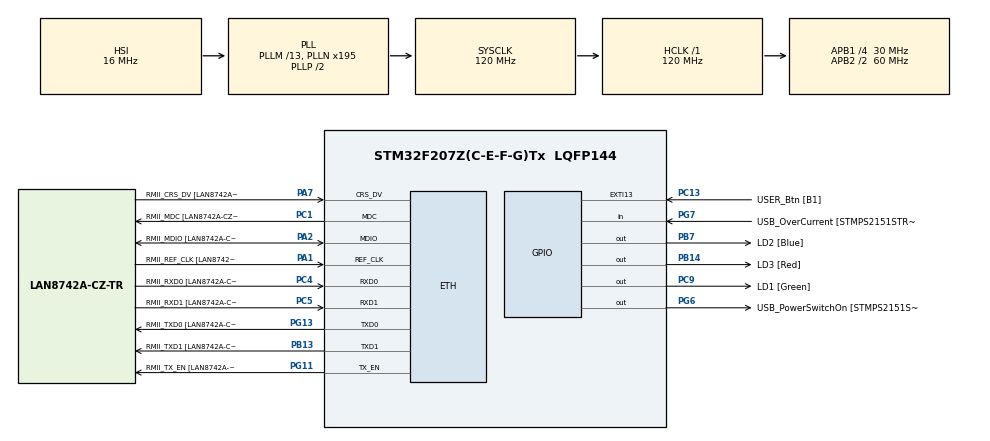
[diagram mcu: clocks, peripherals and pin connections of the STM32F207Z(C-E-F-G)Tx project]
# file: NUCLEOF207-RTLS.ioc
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ETH.MACAddr=00\:80\:E1\:12\:34\:56
ETH.MediaInterface=ETH_MEDIA_INTERFACE_RMII
ETH.PHY_Name=LAN8742A_PHY_ADDRESS
ETH.PHY_Value=0
ETH.PhyAddress=0
FREERTOS.Tasks01=defaultTask,0,1280,StartDefaultTask,Default,NULL,Dynamic,NULL,NULL
FREERTOS.configGENERATE_RUN_TIME_STATS=1
FREERTOS.configTOTAL_HEAP_SIZE=30720
FREERTOS.configUSE_STATS_FORMATTING_FUNCTIONS=1
FREERTOS.configUSE_TRACE_FACILITY=1
LWIP.GATEWAY_ADDRESS=192.168.050.001
LWIP.IP_ADDRESS=192.168.050.195
LWIP.LWIP_DHCP=0
LWIP.NETMASK_ADDRESS=255.255.255.000
LWIP.TCP_MSS=460
LWIP.TCP_SND_BUF=1840
LWIP.TCP_WND=2048
LWIP.Version=v2.0.0_Cube
Mcu.Family=STM32F2
Mcu.Name=STM32F207Z(C-E-F-G)Tx
Mcu.Package=LQFP144
NVIC.ETH_IRQn=true\:5\:0\:false\:false\:true\:true\:false\:true
NVIC.PriorityGroup=NVIC_PRIORITYGROUP_4
PA1.GPIO_Label=RMII_REF_CLK [LAN8742A-CZ-TR_REFCLK0]
PA1.Mode=RMII
PA1.Signal=ETH_REF_CLK
PA10.GPIO_Label=USB_ID
PA10.Signal=USB_OTG_FS_ID
PA11.GPIO_Label=USB_DM
PA11.Signal=USB_OTG_FS_DM
PA12.GPIO_Label=USB_DP
PA12.Signal=USB_OTG_FS_DP
PA13.GPIO_Label=TMS
PA13.Mode=Serial_Wire
PA13.Signal=SYS_JTMS-SWDIO
PA14.GPIO_Label=TCK
PA14.Mode=Serial_Wire
PA14.Signal=SYS_JTCK-SWCLK
PA2.GPIO_Label=RMII_MDIO [LAN8742A-CZ-TR_MDIO]
PA2.Mode=RMII
PA2.Signal=ETH_MDIO
PA7.GPIO_Label=RMII_CRS_DV [LAN8742A-CZ-TR_CRS_DV]
PA7.Mode=RMII
PA7.Signal=ETH_CRS_DV
PA8.GPIO_Label=USB_SOF [TP1]
PA8.Signal=USB_OTG_FS_SOF
PA9.GPIO_Label=USB_VBUS
PA9.Signal=USB_OTG_FS_VBUS
PB13.GPIO_Label=RMII_TXD1 [LAN8742A-CZ-TR_TXD1]
PB13.Mode=RMII
PB13.Signal=ETH_TXD1
PB14.GPIO_Label=LD3 [Red]
PB14.Signal=GPIO_Output
PB3.GPIO_Label=SWO
PB3.Signal=SYS_JTDO-SWO
PB7.GPIO_Label=LD2 [Blue]
PB7.Signal=GPIO_Output
PC1.GPIO_Label=RMII_MDC [LAN8742A-CZ-TR_MDC]
PC1.Mode=RMII
PC1.Signal=ETH_MDC
PC13.GPIO_Label=USER_Btn [B1]
PC13.Signal=GPXTI13
PC14-OSC32_IN.Mode=LSE-External-Oscillator
PC14-OSC32_IN.Signal=RCC_OSC32_IN
PC15-OSC32_OUT.Mode=LSE-External-Oscillator
PC15-OSC32_OUT.Signal=RCC_OSC32_OUT
PC4.GPIO_Label=RMII_RXD0 [LAN8742A-CZ-TR_RXD0]
PC4.Mode=RMII
PC4.Signal=ETH_RXD0
PC5.GPIO_Label=RMII_RXD1 [LAN8742A-CZ-TR_RXD1]
PC5.Mode=RMII
PC5.Signal=ETH_RXD1
PC9.GPIO_Label=LD1 [Green]
PC9.Signal=GPIO_Output
PD8.GPIO_Label=STLK_RX [STM32F103CBT6_PA3]
PD8.Signal=USART3_TX
PD9.GPIO_Label=STLK_TX [STM32F103CBT6_PA2]
PD9.Signal=USART3_RX
PG11.GPIO_Label=RMII_TX_EN [LAN8742A-CZ-TR_TXEN]
PG11.Mode=RMII
PG11.Signal=ETH_TX_EN
PG13.GPIO_Label=RMII_TXD0 [LAN8742A-CZ-TR_TXD0]
PG13.Mode=RMII
PG13.Signal=ETH_TXD0
PG6.GPIO_Label=USB_PowerSwitchOn [STMPS2151STR_EN]
PG6.Signal=GPIO_Output
PG7.GPIO_Label=USB_OverCurrent [STMPS2151STR_FAULT]
PG7.Signal=GPIO_Input
PH0-OSC_IN.GPIO_Label=MCO [STM32F103CBT6_PA8]
PH0-OSC_IN.Signal=RCC_OSC_IN
PH1-OSC_OUT.Signal=RCC_OSC_OUT
ProjectManager.HeapSize=0x200
ProjectManager.StackSize=0x400
ProjectManager.TargetToolchain=EWARM V8
RCC.48MHZClocksFreq_Value=48000000
RCC.AHBFreq_Value=120000000
RCC.APB1CLKDivider=RCC_HCLK_DIV4
RCC.APB1Freq_Value=30000000
RCC.APB1TimFreq_Value=60000000
RCC.APB2CLKDivider=RCC_HCLK_DIV2
RCC.APB2Freq_Value=60000000
RCC.APB2TimFreq_Value=120000000
RCC.CortexFreq_Value=120000000
RCC.HCLKFreq_Value=120000000
RCC.HSE_VALUE=25000000
RCC.HSI_VALUE=16000000
RCC.PLLM=13
RCC.PLLMUL=RCC_PLL_MUL9
RCC.PLLN=195
RCC.PLLQ=5
RCC.PRESCALERUSB=RCC_USBCLKSOURCE_PLL_DIV1_5
RCC.SYSCLKFreq_VALUE=120000000
RCC.SYSCLKSource=RCC_SYSCLKSOURCE_PLLCLK
RCC.SYSCLKSourceVirtual=RCC_SYSCLKSOURCE_PLLCLK
RCC.USBFreq_Value=48000000
RCC.VCOOutputFreq_Value=240000000
VP_FREERTOS_VS_CMSIS_V1.Mode=CMSIS_V1
VP_LWIP_VS_Enabled.Mode=Enabled
board=NUCLEO-F207ZG

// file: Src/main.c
/* USER CODE BEGIN Header */
/**
  ******************************************************************************
  * @file           : main.c
  * @brief          : Main program body
  ******************************************************************************
  * @attention
  *
  * <h2><center>&copy; Copyright (c) 2019 STMicroelectronics.
  * All rights reserved.</center></h2>
  *
  * This software component is licensed by ST under BSD 3-Clause license,
  * the "License"; You may not use this file except in compliance with the
  * License. You may obtain a copy of the License at:
  *                        opensource.org/licenses/BSD-3-Clause
  *
  ******************************************************************************
  */
/* USER CODE END Header */

#include "main.h"
#include "cmsis_os.h"
#include "lwip.h"

/* USER CODE BEGIN Includes */
#include "lwip/opt.h"
#include "lwip/arch.h"
#include "lwip/api.h"
#include "lwip/netbuf.h"
/* USER CODE END Includes */

osThreadId defaultTaskHandle;
/* USER CODE BEGIN PV */
typedef struct struct_conn_t {
	void * conn;
	void * buf;
} struct_conn;
struct_conn conn01;

/* USER CODE END PV */

void SystemClock_Config(void);
static void MX_GPIO_Init(void);
void StartDefaultTask(void const * argument);

/* USER CODE BEGIN PFP */
void udp_receive_callback(struct netconn* conn, enum netconn_evt evt, u16_t len);
/* USER CODE END PFP */

int main(void)
{

  /* MCU Configuration--------------------------------------------------------*/

  /* Reset of all peripherals, Initializes the Flash interface and the Systick. */
  HAL_Init();

  /* Configure the system clock */
  SystemClock_Config();

  /* Initialize all configured peripherals */
  MX_GPIO_Init();

  /* Create the thread(s) */
  /* definition and creation of defaultTask */
  osThreadDef(defaultTask, StartDefaultTask, osPriorityNormal, 0, 2048);
  defaultTaskHandle = osThreadCreate(osThread(defaultTask), NULL);

  /* Start scheduler */
  osKernelStart();

  /* We should never get here as control is now taken by the scheduler */

  /* Infinite loop */
  while (1)
  {

  }
}

void SystemClock_Config(void)
{
  RCC_OscInitTypeDef RCC_OscInitStruct = {0};
  RCC_ClkInitTypeDef RCC_ClkInitStruct = {0};

  /** Initializes the CPU, AHB and APB busses clocks
  */
  RCC_OscInitStruct.OscillatorType = RCC_OSCILLATORTYPE_HSI;
  RCC_OscInitStruct.HSIState = RCC_HSI_ON;
  RCC_OscInitStruct.HSICalibrationValue = RCC_HSICALIBRATION_DEFAULT;
  RCC_OscInitStruct.PLL.PLLState = RCC_PLL_ON;
  RCC_OscInitStruct.PLL.PLLSource = RCC_PLLSOURCE_HSI;
  RCC_OscInitStruct.PLL.PLLM = 13;
  RCC_OscInitStruct.PLL.PLLN = 195;
  RCC_OscInitStruct.PLL.PLLP = RCC_PLLP_DIV2;
  RCC_OscInitStruct.PLL.PLLQ = 5;
  if (HAL_RCC_OscConfig(&RCC_OscInitStruct) != HAL_OK)
  {
    Error_Handler();
  }
  /** Initializes the CPU, AHB and APB busses clocks
  */
  RCC_ClkInitStruct.ClockType = RCC_CLOCKTYPE_HCLK|RCC_CLOCKTYPE_SYSCLK
                              |RCC_CLOCKTYPE_PCLK1|RCC_CLOCKTYPE_PCLK2;
  RCC_ClkInitStruct.SYSCLKSource = RCC_SYSCLKSOURCE_PLLCLK;
  RCC_ClkInitStruct.AHBCLKDivider = RCC_SYSCLK_DIV1;
  RCC_ClkInitStruct.APB1CLKDivider = RCC_HCLK_DIV4;
  RCC_ClkInitStruct.APB2CLKDivider = RCC_HCLK_DIV2;

  if (HAL_RCC_ClockConfig(&RCC_ClkInitStruct, FLASH_LATENCY_3) != HAL_OK)
  {
    Error_Handler();
  }
}

static void MX_GPIO_Init(void)
{
  GPIO_InitTypeDef GPIO_InitStruct = {0};

  /* GPIO Ports Clock Enable */
  __HAL_RCC_GPIOC_CLK_ENABLE();
  __HAL_RCC_GPIOH_CLK_ENABLE();
  __HAL_RCC_GPIOA_CLK_ENABLE();
  __HAL_RCC_GPIOB_CLK_ENABLE();
  __HAL_RCC_GPIOD_CLK_ENABLE();
  __HAL_RCC_GPIOG_CLK_ENABLE();

  /*Configure GPIO pin Output Level */
  HAL_GPIO_WritePin(GPIOB, LD3_Pin|LD2_Pin, GPIO_PIN_RESET);

  /*Configure GPIO pin Output Level */
  HAL_GPIO_WritePin(USB_PowerSwitchOn_GPIO_Port, USB_PowerSwitchOn_Pin, GPIO_PIN_RESET);

  /*Configure GPIO pin Output Level */
  HAL_GPIO_WritePin(LD1_GPIO_Port, LD1_Pin, GPIO_PIN_RESET);

  /*Configure GPIO pin : USER_Btn_Pin */
  GPIO_InitStruct.Pin = USER_Btn_Pin;
  GPIO_InitStruct.Mode = GPIO_MODE_IT_RISING;
  GPIO_InitStruct.Pull = GPIO_NOPULL;
  HAL_GPIO_Init(USER_Btn_GPIO_Port, &GPIO_InitStruct);

  /*Configure GPIO pins : LD3_Pin LD2_Pin */
  GPIO_InitStruct.Pin = LD3_Pin|LD2_Pin;
  GPIO_InitStruct.Mode = GPIO_MODE_OUTPUT_PP;
  GPIO_InitStruct.Pull = GPIO_NOPULL;
  GPIO_InitStruct.Speed = GPIO_SPEED_FREQ_LOW;
  HAL_GPIO_Init(GPIOB, &GPIO_InitStruct);

  /*Configure GPIO pins : STLK_RX_Pin STLK_TX_Pin */
  GPIO_InitStruct.Pin = STLK_RX_Pin|STLK_TX_Pin;
  GPIO_InitStruct.Mode = GPIO_MODE_AF_PP;
  GPIO_InitStruct.Pull = GPIO_NOPULL;
  GPIO_InitStruct.Speed = GPIO_SPEED_FREQ_VERY_HIGH;
  GPIO_InitStruct.Alternate = GPIO_AF7_USART3;
  HAL_GPIO_Init(GPIOD, &GPIO_InitStruct);

  /*Configure GPIO pin : USB_PowerSwitchOn_Pin */
  GPIO_InitStruct.Pin = USB_PowerSwitchOn_Pin;
  GPIO_InitStruct.Mode = GPIO_MODE_OUTPUT_PP;
  GPIO_InitStruct.Pull = GPIO_NOPULL;
  GPIO_InitStruct.Speed = GPIO_SPEED_FREQ_LOW;
  HAL_GPIO_Init(USB_PowerSwitchOn_GPIO_Port, &GPIO_InitStruct);

  /*Configure GPIO pin : USB_OverCurrent_Pin */
  GPIO_InitStruct.Pin = USB_OverCurrent_Pin;
  GPIO_InitStruct.Mode = GPIO_MODE_INPUT;
  GPIO_InitStruct.Pull = GPIO_NOPULL;
  HAL_GPIO_Init(USB_OverCurrent_GPIO_Port, &GPIO_InitStruct);

  /*Configure GPIO pin : LD1_Pin */
  GPIO_InitStruct.Pin = LD1_Pin;
  GPIO_InitStruct.Mode = GPIO_MODE_OUTPUT_PP;
  GPIO_InitStruct.Pull = GPIO_NOPULL;
  GPIO_InitStruct.Speed = GPIO_SPEED_FREQ_LOW;
  HAL_GPIO_Init(LD1_GPIO_Port, &GPIO_InitStruct);

  /*Configure GPIO pins : USB_SOF_Pin USB_ID_Pin USB_DM_Pin USB_DP_Pin */
  GPIO_InitStruct.Pin = USB_SOF_Pin|USB_ID_Pin|USB_DM_Pin|USB_DP_Pin;
  GPIO_InitStruct.Mode = GPIO_MODE_AF_PP;
  GPIO_InitStruct.Pull = GPIO_NOPULL;
  GPIO_InitStruct.Speed = GPIO_SPEED_FREQ_VERY_HIGH;
  GPIO_InitStruct.Alternate = GPIO_AF10_OTG_FS;
  HAL_GPIO_Init(GPIOA, &GPIO_InitStruct);

  /*Configure GPIO pin : USB_VBUS_Pin */
  GPIO_InitStruct.Pin = USB_VBUS_Pin;
  GPIO_InitStruct.Mode = GPIO_MODE_INPUT;
  GPIO_InitStruct.Pull = GPIO_NOPULL;
  HAL_GPIO_Init(USB_VBUS_GPIO_Port, &GPIO_InitStruct);

}

/* USER CODE BEGIN 4 */

static void send_thread(void *arg)
{
  struct_conn *arg_conn;
  struct netconn *conn;
  struct netbuf *buf;
  uint32_t syscnt = 0;
  arg_conn = (struct_conn*) arg;
  conn = (void*)arg_conn->conn;
  for(;;)
  {
  	syscnt = osKernelSysTick();
  	buf = netbuf_new();
  	netbuf_alloc(buf, 4);
  	pbuf_take(buf->p, (void *) &syscnt, 4);
  	netconn_send(conn,buf);
  	netbuf_delete(buf);
  	HAL_GPIO_TogglePin(LD1_GPIO_Port, LD1_Pin);
    osDelay(500);
  }
}
//---------------------------------------------------------------
static void udp_thread(void *arg)
{
  err_t err;
  struct netconn *conn;
  ip_addr_t DestIPaddr;
  conn = netconn_new_with_callback(NETCONN_UDP,udp_receive_callback);
  IP4_ADDR(&DestIPaddr, 192, 168, 50, 220);
  if (conn!= NULL)
  {
  	err = netconn_bind(conn, NULL, 1555);
    if (err == ERR_OK)
    {
      err = netconn_connect(conn, &DestIPaddr, 7);
      if (err == ERR_OK)
      {
        conn01.conn = conn;
        sys_thread_new("send_thread1", send_thread, (void*)&conn01, DEFAULT_THREAD_STACKSIZE, osPriorityNormal );
      }
    }
    else
    {
      netconn_delete(conn);
    }
  }
  for(;;)
  {
    osDelay(1);
  }
}
//---------------------------------------------------------------
void udp_receive_callback(struct netconn* conn, enum netconn_evt evt, u16_t len)
{
  uint32_t syscnt;
  unsigned short port;
  err_t recv_err;
  struct netbuf *buf;
  if(evt==NETCONN_EVT_RCVPLUS)
  {
    recv_err = netconn_recv(conn, &buf);
    if (recv_err == ERR_OK)
    {
      port = netbuf_fromport(buf);
      syscnt = *(uint32_t*) buf->p->payload;
      netbuf_delete(buf);
      HAL_GPIO_TogglePin(GPIOD, GPIO_PIN_15);
    }
  }
}

/* USER CODE END 4 */

void StartDefaultTask(void const * argument)
{
  /* init code for LWIP */
  MX_LWIP_Init();

  /* USER CODE BEGIN 5 */
  sys_thread_new("udp_thread1", udp_thread, NULL, DEFAULT_THREAD_STACKSIZE, osPriorityNormal );

  /* Infinite loop */
  for(;;)
  {
    osDelay(1);
//    HAL_GPIO_WritePin(LD1_GPIO_Port, LD1_Pin, GPIO_PIN_SET);
//    HAL_GPIO_WritePin(LD2_GPIO_Port, LD2_Pin, GPIO_PIN_SET);
//    HAL_GPIO_WritePin(LD3_GPIO_Port, LD3_Pin, GPIO_PIN_SET);
//    osDelay(500);
//
//    HAL_GPIO_WritePin(LD1_GPIO_Port, LD1_Pin, GPIO_PIN_RESET);
//    HAL_GPIO_WritePin(LD2_GPIO_Port, LD2_Pin, GPIO_PIN_RESET);
//    HAL_GPIO_WritePin(LD3_GPIO_Port, LD3_Pin, GPIO_PIN_RESET);
//    osDelay(500);
  }
  /* USER CODE END 5 */
}

void Error_Handler(void)
{
}

/************************ (C) COPYRIGHT STMicroelectronics *****END OF FILE****/
